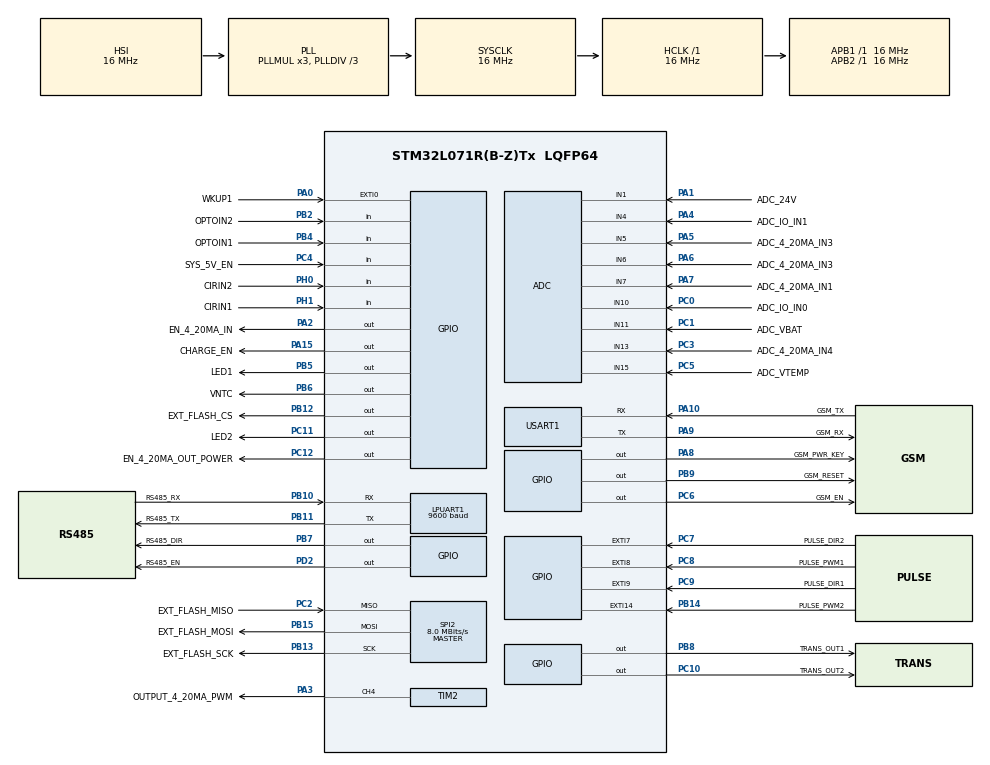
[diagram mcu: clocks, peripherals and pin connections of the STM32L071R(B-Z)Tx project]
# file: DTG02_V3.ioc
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ADC.SamplingTime=ADC_SAMPLETIME_160CYCLES_5
Dma.Request0=USART1_RX
Dma.Request1=USART1_TX
Dma.USART1_RX.0.Direction=DMA_PERIPH_TO_MEMORY
Dma.USART1_RX.0.Instance=DMA1_Channel3
Dma.USART1_RX.0.MemDataAlignment=DMA_MDATAALIGN_BYTE
Dma.USART1_RX.0.MemInc=DMA_MINC_ENABLE
Dma.USART1_RX.0.Mode=DMA_CIRCULAR
Dma.USART1_RX.0.PeriphDataAlignment=DMA_PDATAALIGN_BYTE
Dma.USART1_RX.0.PeriphInc=DMA_PINC_DISABLE
Dma.USART1_RX.0.Priority=DMA_PRIORITY_LOW
Dma.USART1_TX.1.Direction=DMA_MEMORY_TO_PERIPH
Dma.USART1_TX.1.Instance=DMA1_Channel2
Dma.USART1_TX.1.MemDataAlignment=DMA_MDATAALIGN_BYTE
Dma.USART1_TX.1.MemInc=DMA_MINC_ENABLE
Dma.USART1_TX.1.Mode=DMA_NORMAL
Dma.USART1_TX.1.PeriphDataAlignment=DMA_PDATAALIGN_BYTE
Dma.USART1_TX.1.PeriphInc=DMA_PINC_DISABLE
Dma.USART1_TX.1.Priority=DMA_PRIORITY_LOW
IWDG.Prescaler=IWDG_PRESCALER_256
LPUART1.BaudRate=9600
LPUART1.SwapParam=UART_ADVFEATURE_SWAP_ENABLE
LPUART1.WordLength=UART_WORDLENGTH_8B
Mcu.Family=STM32L0
Mcu.Name=STM32L071R(B-Z)Tx
Mcu.Package=LQFP64
NVIC.DMA1_Channel2_3_IRQn=true\:0\:0\:false\:false\:true\:false\:true
NVIC.EXTI0_1_IRQn=true\:0\:0\:false\:false\:true\:true\:true
NVIC.EXTI4_15_IRQn=true\:0\:0\:false\:false\:true\:true\:true
NVIC.LPUART1_IRQn=true\:0\:0\:false\:false\:true\:true\:true
NVIC.RTC_IRQn=true\:0\:0\:false\:false\:true\:true\:true
NVIC.USART1_IRQn=true\:0\:0\:false\:false\:true\:true\:true
PA0.GPIO_Label=WKUP1
PA0.GPIO_ModeDefaultEXTI=GPIO_MODE_IT_FALLING
PA0.Signal=GPXTI0
PA1.GPIO_Label=ADC_24V
PA1.Mode=IN1
PA1.Signal=ADC_IN1
PA10.GPIO_Label=GSM_TX
PA10.Mode=Asynchronous
PA10.Signal=USART1_RX
PA13.Mode=Serial_Wire
PA13.Signal=SYS_SWDIO
PA14.Mode=Serial_Wire
PA14.Signal=SYS_SWCLK
PA15.GPIO_Label=CHARGE_EN
PA15.PinState=GPIO_PIN_SET
PA15.Signal=GPIO_Output
PA2.GPIO_Label=EN_4_20MA_IN
PA2.PinState=GPIO_PIN_SET
PA2.Signal=GPIO_Output
PA3.GPIO_Label=OUTPUT_4_20MA_PWM
PA3.Signal=S_TIM2_CH4
PA4.GPIO_Label=ADC_IO_IN1
PA4.Signal=SharedAnalog_PA4
PA5.GPIO_Label=ADC_4_20MA_IN3
PA5.Mode=IN5
PA5.Signal=ADC_IN5
PA6.GPIO_Label=ADC_4_20MA_IN3
PA6.Mode=IN6
PA6.Signal=ADC_IN6
PA7.GPIO_Label=ADC_4_20MA_IN1
PA7.Mode=IN7
PA7.Signal=ADC_IN7
PA8.GPIO_Label=GSM_PWR_KEY
PA8.GPIO_Speed=GPIO_SPEED_FREQ_LOW
PA8.Signal=GPIO_Output
PA9.GPIO_Label=GSM_RX
PA9.Mode=Asynchronous
PA9.Signal=USART1_TX
PB10.GPIO_Label=RS485_RX
PB10.Mode=Asynchronous
PB10.Signal=LPUART1_RX
PB11.GPIO_Label=RS485_TX
PB11.Mode=Asynchronous
PB11.Signal=LPUART1_TX
PB12.GPIO_Label=EXT_FLASH_CS
PB12.GPIO_Speed=GPIO_SPEED_FREQ_LOW
PB12.PinState=GPIO_PIN_SET
PB12.Signal=GPIO_Output
PB13.GPIO_Label=EXT_FLASH_SCK
PB13.Mode=Full_Duplex_Master
PB13.Signal=SPI2_SCK
PB14.GPIO_Label=PULSE_PWM2
PB14.GPIO_ModeDefaultEXTI=GPIO_MODE_IT_FALLING
PB14.Signal=GPXTI14
PB15.GPIO_Label=EXT_FLASH_MOSI
PB15.Mode=Full_Duplex_Master
PB15.Signal=SPI2_MOSI
PB2.GPIO_Label=OPTOIN2
PB2.Signal=GPIO_Input
PB4.GPIO_Label=OPTOIN1
PB4.Signal=GPIO_Input
PB5.GPIO_Label=LED1
PB5.Signal=GPIO_Output
PB6.GPIO_Label=VNTC
PB6.Signal=GPIO_Output
PB7.GPIO_Label=RS485_DIR
PB7.Signal=GPIO_Output
PB8.GPIO_Label=TRANS_OUT1
PB8.Signal=GPIO_Output
PB9.GPIO_Label=GSM_RESET
PB9.Signal=GPIO_Output
PC0.GPIO_Label=ADC_IO_IN0
PC0.Mode=IN10
PC0.Signal=ADC_IN10
PC1.GPIO_Label=ADC_VBAT
PC1.Mode=IN11
PC1.Signal=ADC_IN11
PC10.GPIO_Label=TRANS_OUT2
PC10.Signal=GPIO_Output
PC11.GPIO_Label=LED2
PC11.Signal=GPIO_Output
PC12.GPIO_Label=EN_4_20MA_OUT_POWER
PC12.GPIO_Speed=GPIO_SPEED_FREQ_LOW
PC12.PinState=GPIO_PIN_SET
PC12.Signal=GPIO_Output
PC14-OSC32_IN.Mode=LSE-External-Oscillator
PC14-OSC32_IN.Signal=RCC_OSC32_IN
PC15-OSC32_OUT.Mode=LSE-External-Oscillator
PC15-OSC32_OUT.Signal=RCC_OSC32_OUT
PC2.GPIO_Label=EXT_FLASH_MISO
PC2.Mode=Full_Duplex_Master
PC2.Signal=SPI2_MISO
PC3.GPIO_Label=ADC_4_20MA_IN4
PC3.Mode=IN13
PC3.Signal=ADC_IN13
PC4.GPIO_Label=SYS_5V_EN
PC4.Signal=GPIO_Input
PC5.GPIO_Label=ADC_VTEMP
PC5.Mode=IN15
PC5.Signal=ADC_IN15
PC6.GPIO_Label=GSM_EN
PC6.PinState=GPIO_PIN_SET
PC6.Signal=GPIO_Output
PC7.GPIO_Label=PULSE_DIR2
PC7.Signal=GPXTI7
PC8.GPIO_Label=PULSE_PWM1
PC8.GPIO_ModeDefaultEXTI=GPIO_MODE_IT_FALLING
PC8.Signal=GPXTI8
PC9.GPIO_Label=PULSE_DIR1
PC9.GPIO_ModeDefaultEXTI=GPIO_MODE_IT_RISING
PC9.Signal=GPXTI9
PD2.GPIO_Label=RS485_EN
PD2.Signal=GPIO_Output
PH0-OSC_IN.GPIO_Label=CIRIN2
PH0-OSC_IN.Signal=GPIO_Input
PH1-OSC_OUT.GPIO_Label=CIRIN1
PH1-OSC_OUT.Signal=GPIO_Input
ProjectManager.HeapSize=0x200
ProjectManager.StackSize=0x400
ProjectManager.TargetToolchain=MDK-ARM V5.32
RCC.AHBFreq_Value=16000000
RCC.APB1Freq_Value=16000000
RCC.APB1TimFreq_Value=16000000
RCC.APB2Freq_Value=16000000
RCC.APB2TimFreq_Value=16000000
RCC.HCLKFreq_Value=16000000
RCC.HSE_VALUE=8000000
RCC.HSI16_VALUE=16000000
RCC.HSI_VALUE=16000000
RCC.MSIClockRange=RCC_MSIRANGE_6
RCC.MSI_VALUE=4194000
RCC.PLLDIV=RCC_PLLDIV_3
RCC.RTCClockSelection=RCC_RTCCLKSOURCE_LSE
RCC.RTCClockSelectionVirtual=RCC_RTCCLKSOURCE_LSE
RCC.SYSCLKFreq_VALUE=16000000
RCC.SYSCLKSource=RCC_SYSCLKSOURCE_PLLCLK
RCC.VCOOutputFreq_Value=48000000
RTC.WakeUpCounter-WakeUp=18
SH.S_TIM2_CH4.0=TIM2_CH4,PWM Generation4 CH4
SH.SharedAnalog_PA4.0=GPIO_Analog
SH.SharedAnalog_PA4.1=ADC_IN4,IN4
SPI2.CalculateBaudRate=8.0 MBits/s
SPI2.Direction=SPI_DIRECTION_2LINES
SPI2.Mode=SPI_MODE_MASTER
SPI2.VirtualType=VM_MASTER
TIM2.Channel-PWM\ Generation4\ CH4=TIM_CHANNEL_4
TIM2.Period=4095
USART1.VirtualMode-Asynchronous=VM_ASYNC
VP_ADC_TempSens_Input.Mode=IN-TempSens
VP_ADC_Vref_Input.Mode=IN-Vrefint
VP_CRC_VS_CRC.Mode=CRC_Activate
VP_IWDG_VS_IWDG.Mode=IWDG_Activate
VP_RTC_VS_RTC_Activate.Mode=RTC_Enabled
VP_RTC_VS_RTC_Calendar.Mode=RTC_Calendar
VP_RTC_VS_RTC_WakeUp_intern.Mode=WakeUp
board=custom

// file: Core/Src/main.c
/* USER CODE BEGIN Header */
/**
  ******************************************************************************
  * @file           : main.c
  * @brief          : Main program body
  ******************************************************************************
  * @attention
  *
  * <h2><center>&copy; Copyright (c) 2021 STMicroelectronics.
  * All rights reserved.</center></h2>
  *
  * This software component is licensed by ST under BSD 3-Clause license,
  * the "License"; You may not use this file except in compliance with the
  * License. You may obtain a copy of the License at:
  *                        opensource.org/licenses/BSD-3-Clause
  *
  ******************************************************************************
  */
/* USER CODE END Header */
#include "main.h"
#include "adc.h"
#include "crc.h"
#include "dma.h"
#include "iwdg.h"
#include "usart.h"
#include "rtc.h"
#include "spi.h"
#include "tim.h"
#include "gpio.h"

/* USER CODE BEGIN Includes */
#include "app_eeprom.h"
#include "measure_input.h"
#include "lpf.h"
#include "stdbool.h"
#include "app_cli.h"
#include "app_wdt.h"
#include "app_sync.h"
#include "hardware_manager.h"
#include "app_bkup.h"
#include "control_output.h"
#include "gsm.h"
#include "hardware.h"
#include "modbus_master.h"
#include "string.h"
#include "sys_ctx.h"
#include "app_rtc.h"
#include "app_debug.h"
#include "app_spi_flash.h"
#include "ota_update.h"
#include "flash_if.h"
#include "version_control.h"
#include "utilities.h"
#include "umm_malloc.h"
#include "jig.h"
/* USER CODE END Includes */

/* USER CODE BEGIN PD */
#define WAKEUP_RESET_WDT_IN_LOW_POWER_MODE            37000    // ( ~16s)
#define DEBUG_LOW_POWER                                 0
#define DISABLE_GPIO_ENTER_LOW_POWER_MODE               0
#define TEST_OUTPUT_4_20MA                              0
#define TEST_RS485                                      0
#define TEST_INPUT_4_20_MA                              0
#define TEST_BACKUP_REGISTER                            0
#define TEST_DEVICE_NEVER_SLEEP							0
#define TEST_CRC32										0
#define CLI_ENABLE                                      0
#define GSM_ENABLE										1
#define TEST_POWER_ALWAYS_TURN_OFF_GSM                  0
/* USER CODE END PD */

void SystemClock_Config(void);

/* USER CODE BEGIN 0 */
/* memory for ummalloc */
static volatile uint32_t m_delay_afer_wakeup_from_deep_sleep_to_measure_data;
static void info_task(void *arg);
volatile uint32_t led_blink_delay = 0;
void sys_config_low_power_mode(void);
extern volatile uint32_t measure_input_turn_on_in_4_20ma_power;
volatile pulse_irq_t recheck_input_pulse[MEASURE_NUMBER_OF_WATER_METER_INPUT];
volatile uint32_t last_time_monitor_vin_when_battery_low = 0;
extern volatile pulse_isr_count_t pulse_count[MEASURE_NUMBER_OF_WATER_METER_INPUT];
/* USER CODE END 0 */

int main(void)
{
  /* USER CODE BEGIN 1 */
	hardware_manager_get_reset_reason();
	for (uint32_t i = 0; i < MEASURE_NUMBER_OF_WATER_METER_INPUT; i++)
	{
		recheck_input_pulse[i].tick = 0;
	}
  /* USER CODE END 1 */

  /* MCU Configuration--------------------------------------------------------*/

  /* Reset of all peripherals, Initializes the Flash interface and the Systick. */
  HAL_Init();

  /* USER CODE BEGIN Init */
	__enable_irq();

	MX_CRC_Init();
	app_eeprom_init();
	app_eeprom_config_data_t *eeprom_cfg = app_eeprom_read_config_data();
    sys_ctx_t *system = sys_ctx();
#if TEST_OUTPUT_4_20MA || TEST_RS485
	eeprom_cfg->io_enable.name.output_4_20ma_enable = 1;
    system->status.is_enter_test_mode = 1;
#endif
//#if TEST_INPUT_4_20_MA
//    eeprom_cfg->io_enable.name.input_4_20ma_enable = 1;
//    system->status.is_enter_test_mode = 1;
//#endif

  /* USER CODE END Init */

  /* Configure the system clock */
  SystemClock_Config();

  /* Initialize all configured peripherals */
  MX_GPIO_Init();
  MX_IWDG_Init();
  MX_DMA_Init();
  MX_ADC_Init();
  MX_USART1_UART_Init();
  MX_RTC_Init();
  MX_LPUART1_UART_Init();
  MX_SPI2_Init();
  MX_TIM2_Init();
  MX_CRC_Init();
  /* USER CODE BEGIN 2 */
//	HAL_ADC
//    __HAL_DBGMCU_FREEZE_IWDG();     // stop watchdog in debug mode
    LL_GPIO_SetOutputPin(CHARGE_EN_GPIO_Port, CHARGE_EN_Pin); // Enable battery charge
    ENABLE_INPUT_4_20MA_POWER(0);
    RS485_POWER_EN(0);
    for (uint32_t i = 0; i < 4; i++)
    {
        LED1(1);
        sys_delay_ms(20);
        LED1(0);
        sys_delay_ms(20);
    }
    LED1(0);

//	DEBUG_RAW(RTT_CTRL_CLEAR);
    system->peripheral_running.name.flash_running = 1;
    system->peripheral_running.name.rs485_running = 1;
#if CLI_ENABLE
	app_cli_start();
#endif
	app_bkup_init();
    app_spi_flash_initialize();
	measure_input_initialize();
	control_ouput_init();
//	adc_start();
	gsm_init_hw();

#if USE_SYNC_DRV
	app_sync_config_t config;
	config.get_ms = sys_get_ms;
	config.polling_interval_ms = 1;
	app_sync_sytem_init(&config);

	app_sync_register_callback(gsm_mnr_task, 1000, SYNC_DRV_REPEATED, SYNC_DRV_SCOPE_IN_LOOP);
	app_sync_register_callback(info_task, 1000, SYNC_DRV_REPEATED, SYNC_DRV_SCOPE_IN_LOOP);
#endif

#if TEST_OUTPUT_4_20MA
	eeprom_cfg->io_enable.name.output_4_20ma_enable = 1;
	eeprom_cfg->output_4_20ma = 10;
	eeprom_cfg->io_enable.name.output_4_20ma_timeout_100ms = 100;
	control_output_dac_enable(1000000);
    system->status.is_enter_test_mode = 1;
    eeprom_cfg->io_enable.name.input_4_20ma_0_enable = 1;
    eeprom_cfg->io_enable.name.input_4_20ma_1_enable = 1;
    eeprom_cfg->io_enable.name.input_4_20ma_2_enable = 1;
    eeprom_cfg->io_enable.name.input_4_20ma_3_enable = 1;
#endif
#if TEST_INPUT_4_20_MA
    eeprom_cfg->io_enable.name.input_4_20ma_0_enable = 1;
    eeprom_cfg->io_enable.name.input_4_20ma_1_enable = 1;
    eeprom_cfg->io_enable.name.input_4_20ma_2_enable = 1;
    eeprom_cfg->io_enable.name.input_4_20ma_3_enable = 1;
    system->status.is_enter_test_mode = 1;
#endif
//    DEBUG_INFO("Server addr %s\r\n", eeprom_cfg->server_addr);
    DEBUG_INFO("Build %s %s, version %s\r\n", __DATE__, __TIME__, VERSION_CONTROL_FW);
	jig_start();
    static uint32_t button_factory_timeout = 0;
    bool do_factory_reset = false;

  /* USER CODE END 2 */

  /* Infinite loop */
  while (1)
  {

    /* USER CODE BEGIN 3 */
#if GSM_ENABLE
	gsm_hw_layer_run();
#endif

	control_ouput_task();
	measure_input_task();
#if CLI_ENABLE
	app_cli_poll();
#endif
#if USE_SYNC_DRV
	app_sync_polling_task();
#else
      static volatile uint32_t m_last_tick = 0;
      static uint32_t m_send_test_info_to_jig = 0;

      if (sys_get_ms() - m_last_tick >= (uint32_t)1000)
      {
#if TEST_POWER_ALWAYS_TURN_OFF_GSM
            if (!gsm_data_layer_is_module_sleeping())
            {
                gsm_change_state(GSM_STATE_SLEEP);
            }
#else       // chi xay ra voi dtg02
            if (adc_get_input_result()->vin > 5000)
            {
              last_time_monitor_vin_when_battery_low = 0;
            }
            else if (adc_get_input_result()->vin < 5000
                && !gsm_data_layer_is_module_sleeping()
                && last_time_monitor_vin_when_battery_low > (uint32_t)10)       // neu dien ap Vin < 16V =>> ko bat gsm. 15s delay cho adc start
            {
                last_time_monitor_vin_when_battery_low = 0;
                LL_GPIO_ResetOutputPin(CHARGE_EN_GPIO_Port, CHARGE_EN_Pin);     // ko chon phep sac
                gsm_change_state(GSM_STATE_SLEEP);
            }
#endif

          last_time_monitor_vin_when_battery_low++;
          m_last_tick = sys_get_ms();
          gsm_mnr_task(NULL);
          info_task(NULL);
      }
#endif /* USE_SYNC_DRV */
	if (led_blink_delay)
	{
		LED1(1);
#ifdef DTG01
		LED2(1);
#endif
	}
	else
	{
		LED1(0);
#ifdef DTG01
		LED2(0);
#endif
	}
	if (system->status.is_enter_test_mode || jig_is_in_test_mode())
	{
		eeprom_cfg->io_enable.name.output_4_20ma_enable = 1;
		if (eeprom_cfg->output_4_20ma < 1.0f)
			eeprom_cfg->output_4_20ma = 10;
		eeprom_cfg->io_enable.name.output_4_20ma_timeout_100ms = 100;
		control_output_dac_enable(1000000);
		eeprom_cfg->io_enable.name.rs485_en = 1;
		ENABLE_INPUT_4_20MA_POWER(1);
        RS485_POWER_EN(1);
        usart_lpusart_485_control(1);
        if (sys_get_ms() - m_send_test_info_to_jig >= (uint32_t)500)
        {
            m_send_test_info_to_jig = sys_get_ms();
            LED1_TOGGLE();
            LED2_TOGGLE();
            TRANS_1_TOGGLE();
            TRANS_2_TOGGLE();
#ifndef DTG02V3 // Chi co G2, G2V2 moi co 2 chan opto input 3,4
                TRANS_3_TOGGLE();
                TRANS_4_TOGGLE();
#endif
            // Send jig data
            /**
             *  {
             *       "Unique_id":"1234",
             *       "Flash":1/0,
             *       "IMEI":"",
             *       "Input420_0":12,
             *       "Input420_1":13,
             *       "Input420_2":14,
             *       "Input420_3":15,
             *  }
             *
             */
             adc_input_value_t *adc_retval = adc_get_input_result();
             static uint8_t last_cir_val[2];
             static uint8_t last_input_io_val[2];
             static uint32_t last_input_io_change_count[2];
             uint8_t level;

             level = LL_GPIO_IsInputPinSet(CIRIN1_GPIO_Port, CIRIN1_Pin);
             if (level != last_cir_val[MEASURE_INPUT_PORT_1])
             {
                 last_cir_val[MEASURE_INPUT_PORT_1] = level;
                 pulse_count[MEASURE_INPUT_PORT_1].cir_count++;
             }

             level = LL_GPIO_IsInputPinSet(CIRIN2_GPIO_Port, CIRIN2_Pin);
             if (level != last_cir_val[MEASURE_INPUT_PORT_2])
             {
                 last_cir_val[MEASURE_INPUT_PORT_2] = level;
                 pulse_count[MEASURE_INPUT_PORT_2].cir_count++;
             }

             level = INPUT_ON_OFF_0();
             if (level != last_input_io_val[0])
             {
                 last_input_io_val[0] = level;
                 last_input_io_change_count[0]++;
             }

             level = INPUT_ON_OFF_1();
             if (level != last_input_io_val[1])
             {
                 last_input_io_val[1] = level;
                 last_input_io_change_count[1]++;
             }

             jig_print("{\"id\":\"%08X%08X%08X\",", LL_GetUID_Word0(), LL_GetUID_Word1(), LL_GetUID_Word2());
             jig_print("\"Fl\":%u,", app_spi_flash_is_ok() ? 1 :  0);
             jig_print("\"im\":\"%s\",", gsm_get_module_imei());
             jig_print("\"420_1\":%.1f,", adc_retval->in_4_20ma_in[0]);
             jig_print("\"420_2\":%.1f,", adc_retval->in_4_20ma_in[1]);
             jig_print("\"420_3\":%.1f,", adc_retval->in_4_20ma_in[2]);
             jig_print("\"420_4\":%.1f,", adc_retval->in_4_20ma_in[3]);
             jig_print("\"bat\":%u,", adc_retval->bat_mv);
             jig_print("\"Vin\":%u,", adc_retval->vin);
             jig_print("\"T\":%d,", adc_retval->temp);
             if (pulse_count[MEASURE_INPUT_PORT_1].cir_count > 10)
             {
                 jig_print("\"C1\":\"%s\",", "PASSED");
             }
             else
             {
                 jig_print("\"C1\":\"%s\",", "FAILED");
             }

             if (pulse_count[MEASURE_INPUT_PORT_1].pwm_count > 10)
             {
                jig_print("\"P1\":\"%s\",", "PASSED");
             }
             else
             {
                 jig_print("\"P1\":\"%s\",", "FAILED");
             }
             if (pulse_count[MEASURE_INPUT_PORT_1].dir_count > 10)
             {
                jig_print("\"D1\":\"%s\",", "PASSED");
             }
             else
             {
                 jig_print("\"D1\":\"%s\",", "FAILED");
             }

            // Input on/off
             if (last_input_io_change_count[0] > 10)
             {
                 jig_print("\"IO1\":\"%s\",", "PASSED");
             }
             else
             {
                 jig_print("\"IO1\":\"%s\",", "FAILED");
             }

             if (last_input_io_change_count[1] > 10)
             {
                jig_print("\"IO2\":\"%s\",", "PASSED");
             }
             else
             {
                 jig_print("\"IO2\":\"%s\",", "FAILED");
             }

             jig_print("\"IOADC\":%u", adc_retval->analog_input_io);

             jig_print("%s", "}");
        }
	}

    if (!eeprom_cfg->io_enable.name.rs485_en
		&& system->status.timeout_wait_message_sync_data == 0)
    {
        system->peripheral_running.name.rs485_running = 0;
        usart_lpusart_485_control(0);
    }

#ifdef DTG01
    if (!eeprom_cfg->io_enable.name.input_4_20ma_enable)
#else
	    if (eeprom_cfg->io_enable.name.input_4_20ma_0_enable == 0
			 && eeprom_cfg->io_enable.name.input_4_20ma_1_enable == 0
			 && eeprom_cfg->io_enable.name.input_4_20ma_2_enable == 0
			 && eeprom_cfg->io_enable.name.input_4_20ma_3_enable == 0)
#endif
    {
        ENABLE_INPUT_4_20MA_POWER(0);
        system->peripheral_running.name.wait_for_input_4_20ma_power_on = 0;
        measure_input_turn_on_in_4_20ma_power = 0;
    }

    if (gsm_data_layer_is_module_sleeping())
    {
        system->peripheral_running.name.gsm_running = 0;
        if (system->peripheral_running.name.flash_running)
        {
            app_spi_flash_shutdown();
            spi_deinit();
            system->peripheral_running.name.flash_running = 0;
        }

        usart1_control(false);
        GSM_PWR_EN(0);
        GSM_PWR_RESET(0);
        GSM_PWR_KEY(0);
    }
    else
    {
        system->peripheral_running.name.gsm_running = 1;
    }

    if (ota_update_is_running())
    {
        system->status.disconnect_timeout_s = 0;
    }

	if (system->status.timeout_wait_message_sync_data)
	{
		RS485_POWER_EN(1);
		usart_lpusart_485_control(1);
        if (LL_GPIO_IsInputPinSet(WKUP1_GPIO_Port, WKUP1_Pin) == 0)
        {
            uint32_t now = sys_get_ms();
            static uint32_t m_last_blink = 0;
            if (button_factory_timeout == 0)
            {
                button_factory_timeout = now;
            }
            if (now - button_factory_timeout >= (uint32_t)7000) // button hold for 5s =>> factory reset
            {
                DEBUG_INFO("Factory reset server\r\n");
                if (strcmp(DEFAULT_SERVER_ADDR, (char*)app_eeprom_read_factory_data()->server))
                {
                    app_eeprom_factory_data_t *pre_data = app_eeprom_read_factory_data();
                    app_eeprom_factory_data_t new_data;

                    memcpy(&new_data, pre_data, sizeof(app_eeprom_factory_data_t));
                    memset(new_data.server, 0, APP_EEPROM_MAX_SERVER_ADDR_LENGTH);
                    memcpy(new_data.server, DEFAULT_SERVER_ADDR, strlen(DEFAULT_SERVER_ADDR));
                    app_eeprom_save_factory_data(&new_data);

                    memset(eeprom_cfg->server_addr[APP_EEPROM_MAIN_SERVER_ADDR_INDEX], 0, APP_EEPROM_MAX_SERVER_ADDR_LENGTH);
                    memset(eeprom_cfg->server_addr[APP_EEPROM_ALTERNATIVE_SERVER_ADDR_INDEX], 0, APP_EEPROM_MAX_SERVER_ADDR_LENGTH);

                    memcpy((char*)eeprom_cfg->server_addr[APP_EEPROM_MAIN_SERVER_ADDR_INDEX], DEFAULT_SERVER_ADDR, strlen(DEFAULT_SERVER_ADDR));
                    app_eeprom_save_config();		// Store current config into eeprom
                }
                usart_lpusart_485_send((uint8_t*)"Factory reset server ", strlen("Factory reset server "));
                usart_lpusart_485_send((uint8_t*)DEFAULT_SERVER_ADDR, strlen(DEFAULT_SERVER_ADDR));
                button_factory_timeout = now;
                do_factory_reset = true;
            }

            if (now - m_last_blink >= (uint32_t)100)
            {
                m_last_blink = now;
                if (do_factory_reset)
                {
                    LED1_TOGGLE();
                }
            }
        }
        else
        {
            button_factory_timeout = 0;
            do_factory_reset = false;
        }

        char *server;
        uint32_t server_len;
		if (jig_found_cmd_sync_data_to_host())
		{
			// Step 1 : Wakeup spi
			if (!system->peripheral_running.name.flash_running)
			{
				spi_init();
				app_spi_flash_wakeup();
				system->peripheral_running.name.flash_running = 1;
			}

			app_spi_flash_dump_to_485();

			// Step 2 : Shutdown spi
			app_spi_flash_shutdown();
            spi_deinit();
            system->peripheral_running.name.flash_running = 0;
		}
        else if (jig_found_cmd_change_server(&server, &server_len))
        {
            server[server_len] = 0;
            usart_lpusart_485_send((uint8_t*)"Set new server ", strlen("Set new server "));
            usart_lpusart_485_send((uint8_t*)server, strlen(server));
            memset(eeprom_cfg->server_addr[APP_EEPROM_MAIN_SERVER_ADDR_INDEX], 0, APP_EEPROM_MAX_SERVER_ADDR_LENGTH);
            memset(eeprom_cfg->server_addr[APP_EEPROM_ALTERNATIVE_SERVER_ADDR_INDEX], 0, APP_EEPROM_MAX_SERVER_ADDR_LENGTH);
            memcpy((char*)eeprom_cfg->server_addr[APP_EEPROM_ALTERNATIVE_SERVER_ADDR_INDEX], server, server_len);
            app_eeprom_save_config();
            jig_release_memory();
        }
        else if (jig_found_cmd_set_default_server_server(&server, &server_len))
        {
            server[server_len] = 0;
            usart_lpusart_485_send((uint8_t*)"Set default server ", strlen("Set default server "));
            usart_lpusart_485_send((uint8_t*)server, strlen(server));
            app_eeprom_factory_data_t *pre_data = app_eeprom_read_factory_data();
            app_eeprom_factory_data_t new_data;

            memcpy(&new_data, pre_data, sizeof(app_eeprom_factory_data_t));
            memset(new_data.server, 0, APP_EEPROM_MAX_SERVER_ADDR_LENGTH);
            memcpy(new_data.server, server, server_len);
            app_eeprom_save_factory_data(&new_data);

            jig_release_memory();
        }
        else if (jig_found_cmd_get_config())
        {
            char config[128];     // TODO check malloc result
            uint32_t len = 0;

            app_eeprom_config_data_t *eeprom_cfg = app_eeprom_read_config_data();
            len += snprintf((char *)(config + len), APP_EEPROM_MAX_SERVER_ADDR_LENGTH, "{\"Server0\":\"%s\",", eeprom_cfg->server_addr[0]);
            usart_lpusart_485_send((uint8_t*)config, len);
            len = 0;

            len += snprintf((char *)(config + len), APP_EEPROM_MAX_SERVER_ADDR_LENGTH, "\"Server1\":\"%s\",", eeprom_cfg->server_addr[1]);
            usart_lpusart_485_send((uint8_t*)config, len);
            len = 0;

            len += sprintf((char *)(config + len), "\"CycleSendWeb\":%u,", eeprom_cfg->send_to_server_interval_ms/1000/60);
            len += sprintf((char *)(config + len), "\"DelaySendToServer\":%u,", eeprom_cfg->send_to_server_delay_s);
            usart_lpusart_485_send((uint8_t*)config, len);
            len = 0;

            len += sprintf((char *)(config + len), "\"Cyclewakeup\":%u,", eeprom_cfg->measure_interval_ms/1000/60);
            len += sprintf((char *)(config + len), "\"MaxSmsOneday\":%u,", eeprom_cfg->max_sms_1_day);
            usart_lpusart_485_send((uint8_t*)config, len);
            len = 0;

            len += sprintf((char *)(config + len), "\"Phone\":\"%s\",", eeprom_cfg->phone);
            len += sprintf((char *)(config + len), "\"PollConfig\":%u,", eeprom_cfg->poll_config_interval_hour);
            len += sprintf((char *)(config + len), "\"DirLevel\":%u,", eeprom_cfg->dir_level);

            usart_lpusart_485_send((uint8_t*)config, len);
            len = 0;

            for (uint32_t i = 0; i < APP_EEPROM_METER_MODE_MAX_ELEMENT; i++)
            {
                len += sprintf((char *)(config + len), "\"K%u\":%u,", i+1, eeprom_cfg->k[i]);
                len += sprintf((char *)(config + len), "\"M%u\":%u,", i+1, eeprom_cfg->meter_mode[i]);
                len += sprintf((char *)(config + len), "\"MeterIndicator%u\":%u,", i+1, eeprom_cfg->offset[i]);
                usart_lpusart_485_send((uint8_t*)config, len);
                len = 0;
            }

            len += sprintf((char *)(config + len), "\"OutputIO_0\":%u,", eeprom_cfg->io_enable.name.output0);
            len += sprintf((char *)(config + len), "\"OutputIO_1\":%u,", eeprom_cfg->io_enable.name.output1);

            usart_lpusart_485_send((uint8_t*)config, len);
            len = 0;

            len += sprintf((char *)(config + len), "\"OutputIO_2\":%u,", eeprom_cfg->io_enable.name.output2);
            len += sprintf((char *)(config + len), "\"OutputIO_3\":%u,", eeprom_cfg->io_enable.name.output3);
            len += sprintf((char *)(config + len), "\"Input0\":%u,", eeprom_cfg->io_enable.name.input0);
            len += sprintf((char *)(config + len), "\"Input1\":%u,", eeprom_cfg->io_enable.name.input1);

            usart_lpusart_485_send((uint8_t*)config, len);
            len = 0;
            len += sprintf((char *)(config + len), "\"Input2\":%u,", eeprom_cfg->io_enable.name.input2);
            len += sprintf((char *)(config + len), "\"Input3\":%u,", eeprom_cfg->io_enable.name.input3);

        //    len += sprintf((char *)(config + len), "\"SOS\":%u,", eeprom_cfg->io_enable.name.sos);
            len += sprintf((char *)(config + len), "\"Warning\":%u,", eeprom_cfg->io_enable.name.warning);
            len += sprintf((char *)(config + len), "\"485_EN\":%u,", eeprom_cfg->io_enable.name.rs485_en);

            usart_lpusart_485_send((uint8_t*)config, len);
            len = 0;
            if (eeprom_cfg->io_enable.name.rs485_en)
            {
                for (uint32_t slave_idx = 0; slave_idx < RS485_MAX_SLAVE_ON_BUS; slave_idx++)
                {
                    for (uint32_t sub_register_index = 0; sub_register_index < RS485_MAX_SUB_REGISTER; sub_register_index++)
                    {
                        if (eeprom_cfg->rs485[slave_idx].sub_register[sub_register_index].data_type.name.valid == 0)
                        {
                            uint32_t slave_addr = eeprom_cfg->rs485[slave_idx].sub_register[sub_register_index].read_ok = 0;
                            continue;
                        }
                        len += sprintf((char *)(config + len),
                                        "\"485_%u_Slave\":%u,",
                                        slave_idx,
                                        eeprom_cfg->rs485[slave_idx].slave_addr);
                        len += sprintf((char *)(config + len),
                                                "\"485_%u_Reg\":%u,",
                                                slave_idx,
                                                eeprom_cfg->rs485[slave_idx].sub_register[sub_register_index].register_addr);
                        len += snprintf((char *)(config + len), 6,
                                                "\"485_%u_Unit\":\"%s\",",
                                                slave_idx,
                                                (char*)eeprom_cfg->rs485[slave_idx].sub_register[sub_register_index].unit);

                        usart_lpusart_485_send((uint8_t*)config, len);
                        len = 0;
                    }
                }
            }

            len += sprintf((char *)(config + len), "\"input4_20mA_0\":%u,", eeprom_cfg->io_enable.name.input_4_20ma_0_enable);
        #ifndef DTG01
            len += sprintf((char *)(config + len), "\"input4_20mA_1\":%u,", eeprom_cfg->io_enable.name.input_4_20ma_1_enable);
            len += sprintf((char *)(config + len), "\"input4_20mA_2\":%u,", eeprom_cfg->io_enable.name.input_4_20ma_2_enable);
            len += sprintf((char *)(config + len), "\"input4_20mA_3\":%u,", eeprom_cfg->io_enable.name.input_4_20ma_3_enable);
        #endif

            usart_lpusart_485_send((uint8_t*)config, len);
            len = 0;

            len += sprintf((char *)(config + len), "\"Output4_20mA_En\":%u,", eeprom_cfg->io_enable.name.output_4_20ma_enable);
            if (eeprom_cfg->io_enable.name.output_4_20ma_enable)
            {
                len += sprintf((char *)(config + len), "\"Output4_20mA_Val\":%.3f,", eeprom_cfg->output_4_20ma);
            }

            usart_lpusart_485_send((uint8_t*)config, len);
            len = 0;

            len += sprintf((char *)(config + len), "\"FW\":\"%s\",", VERSION_CONTROL_FW);
            len += sprintf((char *)(config + len), "\"HW\":\"%s\",", VERSION_CONTROL_HW);

            usart_lpusart_485_send((uint8_t*)config, len);
            len = 0;

            len += sprintf((char *)(config + len), "\"FactoryServer\":\"%s\",", app_eeprom_read_factory_data()->server);

            len--;      // Skip ','
            len += sprintf((char *)(config + len), "%s", "}");
            usart_lpusart_485_send((uint8_t*)config, len);

            jig_release_memory();
        }
	}
	else if (system->status.is_enter_test_mode == 0)
	{
        button_factory_timeout = 0;
		usart_lpusart_485_control(0);
	}

    if (system->peripheral_running.value == 0)
    {
        adc_stop();
        if (system->status.is_enter_test_mode == 0
			&& recheck_input_pulse[0].tick == 0
			&& recheck_input_pulse[1].tick == 0
			&& system->status.timeout_wait_message_sync_data == 0)
        {
			jig_release_memory();

			#if TEST_DEVICE_NEVER_SLEEP == 0
			{
				RS485_POWER_EN(0);
				ENABLE_INPUT_4_20MA_POWER(0);
				system->peripheral_running.name.wait_for_input_4_20ma_power_on = 0;
				measure_input_turn_on_in_4_20ma_power = 0;
				LED1(0);
#ifdef DTG01
				LED2(0);
#endif
				// turn off 4.2V
				ENABLE_SYS_4V2(0);
				sys_config_low_power_mode();
			}
			#endif
        }
    }
#ifdef WDT_ENABLE
    LL_IWDG_ReloadCounter(IWDG);
#endif

  }
  /* USER CODE END 3 */
}

void SystemClock_Config(void)
{
  RCC_OscInitTypeDef RCC_OscInitStruct = {0};
  RCC_ClkInitTypeDef RCC_ClkInitStruct = {0};
  RCC_PeriphCLKInitTypeDef PeriphClkInit = {0};

  /** Configure the main internal regulator output voltage
  */
  __HAL_PWR_VOLTAGESCALING_CONFIG(PWR_REGULATOR_VOLTAGE_SCALE1);
  /** Configure LSE Drive Capability
  */
  HAL_PWR_EnableBkUpAccess();
  __HAL_RCC_LSEDRIVE_CONFIG(RCC_LSEDRIVE_LOW);
  /** Initializes the RCC Oscillators according to the specified parameters
  * in the RCC_OscInitTypeDef structure.
  */
  RCC_OscInitStruct.OscillatorType = RCC_OSCILLATORTYPE_HSI|RCC_OSCILLATORTYPE_LSI
                              |RCC_OSCILLATORTYPE_LSE;
  RCC_OscInitStruct.LSEState = RCC_LSE_ON;
  RCC_OscInitStruct.HSIState = RCC_HSI_ON;
  RCC_OscInitStruct.HSICalibrationValue = RCC_HSICALIBRATION_DEFAULT;
  RCC_OscInitStruct.LSIState = RCC_LSI_ON;
  RCC_OscInitStruct.PLL.PLLState = RCC_PLL_ON;
  RCC_OscInitStruct.PLL.PLLSource = RCC_PLLSOURCE_HSI;
  RCC_OscInitStruct.PLL.PLLMUL = RCC_PLLMUL_3;
  RCC_OscInitStruct.PLL.PLLDIV = RCC_PLLDIV_3;
  if (HAL_RCC_OscConfig(&RCC_OscInitStruct) != HAL_OK)
  {
    Error_Handler();
  }
  /** Initializes the CPU, AHB and APB buses clocks
  */
  RCC_ClkInitStruct.ClockType = RCC_CLOCKTYPE_HCLK|RCC_CLOCKTYPE_SYSCLK
                              |RCC_CLOCKTYPE_PCLK1|RCC_CLOCKTYPE_PCLK2;
  RCC_ClkInitStruct.SYSCLKSource = RCC_SYSCLKSOURCE_PLLCLK;
  RCC_ClkInitStruct.AHBCLKDivider = RCC_SYSCLK_DIV1;
  RCC_ClkInitStruct.APB1CLKDivider = RCC_HCLK_DIV1;
  RCC_ClkInitStruct.APB2CLKDivider = RCC_HCLK_DIV1;

  if (HAL_RCC_ClockConfig(&RCC_ClkInitStruct, FLASH_LATENCY_0) != HAL_OK)
  {
    Error_Handler();
  }
  PeriphClkInit.PeriphClockSelection = RCC_PERIPHCLK_USART1|RCC_PERIPHCLK_LPUART1
                              |RCC_PERIPHCLK_RTC;
  PeriphClkInit.Usart1ClockSelection = RCC_USART1CLKSOURCE_PCLK2;
  PeriphClkInit.Lpuart1ClockSelection = RCC_LPUART1CLKSOURCE_PCLK1;
  PeriphClkInit.RTCClockSelection = RCC_RTCCLKSOURCE_LSE;
  if (HAL_RCCEx_PeriphCLKConfig(&PeriphClkInit) != HAL_OK)
  {
    Error_Handler();
  }
}

/* USER CODE BEGIN 4 */
uint32_t sys_get_ms()
{
	return uwTick;
}

void sys_delay_ms(uint32_t ms)
{
	uint32_t current_tick = HAL_GetTick();

	while (1)
	{
#ifdef WDT_ENABLE
        WRITE_REG(IWDG->KR, LL_IWDG_KEY_RELOAD);
#endif
//		__WFI();	// hardfault when exit from stopmode
		if (uwTick - current_tick >= (uint32_t)ms)
		{
			break;
		}
	}
}

static void info_task(void *arg)
{

	static uint32_t i = 0;
    sys_ctx_t *system = sys_ctx();

	if (system->status.is_enter_test_mode)
	{
#if TEST_RS485
		usart_lpusart_485_control(1);
		sys_delay_ms(100);
		uint8_t result;
		uint16_t input_result[8];

		modbus_master_reset(1000);
		uint32_t before = sys_get_ms();
		 // read input registers function test
		 // slave address 0x01, two consecutive addresses are register 0x2
		result = modbus_master_read_input_register(8, 106, 8);
		if (result == 0x00)
		{
			DEBUG_INFO("Modbus read success in %ums\r\n", sys_get_ms() - before);

			for (uint32_t i = 0; i < 8; i++)
			{
				input_result[i] = modbus_master_get_response_buffer(i);
				DEBUG_RAW("(30%u-%u),", 106 + i, input_result[i]);
			}
			DEBUG_RAW("\r\n");
		}
		else
		{
			DEBUG_ERROR("Modbus failed\r\n");
		}
		usart_lpusart_485_control(0);
#endif
        i = 5;
	}

    static uint8_t m_last_input[4];
    bool led_blink = 0;
    for (uint32_t i = 0; i < 4; i++)
    {
        if (m_last_input[i] != measure_input_current_data()->input_on_off[i])
        {
            led_blink = 1;
        }
        m_last_input[i] = measure_input_current_data()->input_on_off[i];
    }

    if (led_blink)
    {
        LED1(1);
        sys_delay_ms(5);
        LED1(0);
    }
    TRANS_1_TOGGLE();
    TRANS_2_TOGGLE();

    if (i++ > 4)
	{
		i = 0;
		adc_input_value_t *adc = adc_get_input_result();
        rtc_date_time_t time;
        app_rtc_get_time(&time);
        char tmp[48];
        char *p = tmp;
        for (uint32_t i = 0; i < 4; i++)
        {
            p += sprintf(p, "(%.2f),", adc->in_4_20ma_in[i]);
        }
        for (uint32_t i = 0; i < 4; i++)
        {
            p += sprintf(p, "IN%u-%u,", i+1, measure_input_current_data()->input_on_off[i]);
        }

		if (gsm_data_layer_is_module_sleeping() || sys_ctx()->status.is_enter_test_mode)
		{
			DEBUG_INFO("vdda %umv, bat_mv %u-%u, vin %umV, 4-20mA %s temp %u\r\n",
						adc->vdda_mv,
						adc->bat_mv, adc->bat_percent,
						adc->vin,
						tmp,
						adc->temp);
		}
#if TEST_CRC32
		uint32_t crc;
		static const char *feed_str0 ="12345";
		static const char *feed_str1 ="12349876";
		crc = utilities_calculate_crc32((uint8_t*)feed_str0, strlen(feed_str0));
		DEBUG_INFO("CRC0 0x%08X\r\n", crc);
		crc = utilities_calculate_crc32((uint8_t*)feed_str1, strlen(feed_str1));
		DEBUG_INFO("CRC1 0x%08X\r\n", crc);
#endif
		static sys_ctx_error_critical_t m_last_critical_err;
		sys_ctx_t *ctx = sys_ctx();
		app_eeprom_config_data_t *eeprom_cfg = app_eeprom_read_config_data();

		// If rs485 was not enable =>> clear rs485 error code
		if (!eeprom_cfg->io_enable.name.rs485_en)
		{
			ctx->error_not_critical.detail.rs485_err = 0;
		}
		if (m_last_critical_err.value != ctx->error_critical.value)
		{
			m_last_critical_err.value = ctx->error_critical.value;

			if (!eeprom_cfg->io_enable.name.warning
				&& (strlen((char*)eeprom_cfg->phone) > 8)
				&& m_last_critical_err.value)
			{
				char msg[156];
				char *p = msg;
				rtc_date_time_t time;
				app_rtc_get_time(&time);

				p += sprintf(p, "[%04u/%02u/%02u %02u:%02u] ",
								time.year + 2000,
								time.month,
								time.day,
								time.hour,
								time.minute);
				if (m_last_critical_err.detail.sensor_out_of_range)
				{
					p += sprintf(p, "%s", "He thong bi loi luu luong");
				}
				gsm_send_sms((char*)eeprom_cfg->phone, msg);
			}
		}
	}
}

void sys_turn_on_led(uint32_t delay_ms)
{
    led_blink_delay = delay_ms;
}

static bool m_wakeup_timer_run = false;
void sys_config_low_power_mode(void)
{
    // estimate RTC wakeup time
    if (m_wakeup_timer_run == false)
    {
        sys_ctx_t *ctx = sys_ctx();

#if DEBUG_LOW_POWER
        __DBGMCU_CLK_ENABLE() ; // (RCC->APB2ENR |= (RCC_APB2ENR_DBGMCUEN))
        SET_BIT(DBGMCU->CR, DBGMCU_CR_DBG_STOP);        // Enable debug stop mode
#endif

#ifdef WDT_ENABLE
        LL_IWDG_ReloadCounter(IWDG);
#endif

        uint32_t counter_before_sleep = app_rtc_get_counter();
        uint32_t sleep_time = ((measure_input_get_next_time_wakeup()+1)*32768)/16;
        if (sleep_time > WAKEUP_RESET_WDT_IN_LOW_POWER_MODE)
        {
            sleep_time = WAKEUP_RESET_WDT_IN_LOW_POWER_MODE;
        }

        HAL_RTCEx_DeactivateWakeUpTimer(&hrtc);
        if (HAL_RTCEx_SetWakeUpTimer_IT(&hrtc, sleep_time, RTC_WAKEUPCLOCK_RTCCLK_DIV16) != HAL_OK)
        {
            Error_Handler();
        }
        __HAL_PWR_CLEAR_FLAG(PWR_FLAG_WU);

        /* Disable GPIOs clock */
        LL_IOP_GRP1_DisableClock(LL_IOP_GRP1_PERIPH_GPIOA);
        LL_IOP_GRP1_DisableClock(LL_IOP_GRP1_PERIPH_GPIOB);
        LL_IOP_GRP1_DisableClock(LL_IOP_GRP1_PERIPH_GPIOC);
        LL_IOP_GRP1_DisableClock(LL_IOP_GRP1_PERIPH_GPIOH);

        // Suspend tick
        SysTick->CTRL &= ~SysTick_CTRL_TICKINT_Msk;

//          GPIO_InitTypeDef GPIO_InitStructure;
        __HAL_RCC_PWR_CLK_ENABLE();

        /* Enable the Ultra Low Power mode */
        SET_BIT(PWR->CR, PWR_CR_ULP);

        /* Enable the fast wake up from Ultra low power mode */
        SET_BIT(PWR->CR, PWR_CR_FWU);

        /* Select MSI as system clock source after Wake Up from Stop mode */
        __HAL_RCC_WAKEUPSTOP_CLK_CONFIG(RCC_STOP_WAKEUPCLOCK_MSI);

          /* Enter Stop Mode */
        HAL_PWR_EnterSTOPMode(PWR_LOWPOWERREGULATOR_ON, PWR_STOPENTRY_WFI);

        __HAL_PWR_CLEAR_FLAG(PWR_FLAG_WU);

#if 1
        /* Enable GPIOs clock */
        LL_IOP_GRP1_EnableClock(LL_IOP_GRP1_PERIPH_GPIOA);
        LL_IOP_GRP1_EnableClock(LL_IOP_GRP1_PERIPH_GPIOB);
        LL_IOP_GRP1_EnableClock(LL_IOP_GRP1_PERIPH_GPIOC);
        LL_IOP_GRP1_EnableClock(LL_IOP_GRP1_PERIPH_GPIOH);
#endif
        uint32_t counter_after_sleep = app_rtc_get_counter();
        uint32_t diff = counter_after_sleep-counter_before_sleep;
        uwTick += diff*1000;

//        ctx->status.sleep_time_s += diff;
        HAL_RTCEx_DeactivateWakeUpTimer(&hrtc);
        m_wakeup_timer_run = false;
        DEBUG_VERBOSE("Wakeup\r\n");

        // Resume tick
        SysTick->CTRL  |= SysTick_CTRL_TICKINT_Msk;

        SystemClock_Config();
		LED1(1);
#ifdef DTG01
		LED2(1);
#endif
		sys_delay_ms(3);

#ifdef WDT_ENABLE
        LL_IWDG_ReloadCounter(IWDG);
#endif
    }
    else
    {
        DEBUG_WARN("RTC timer still running\r\n");
    }
}

void HAL_RTCEx_WakeUpTimerEventCallback(RTC_HandleTypeDef *hrtc)
{
    m_wakeup_timer_run = false;
    HAL_RTCEx_DeactivateWakeUpTimer(hrtc);
    __HAL_PWR_CLEAR_FLAG(PWR_FLAG_WU);
}
/* USER CODE END 4 */

void Error_Handler(void)
{
  /* USER CODE BEGIN Error_Handler_Debug */
  /* User can add his own implementation to report the HAL error return state */
	__disable_irq();
	NVIC_SystemReset();
  while (1)
  {
  }
  /* USER CODE END Error_Handler_Debug */
}
